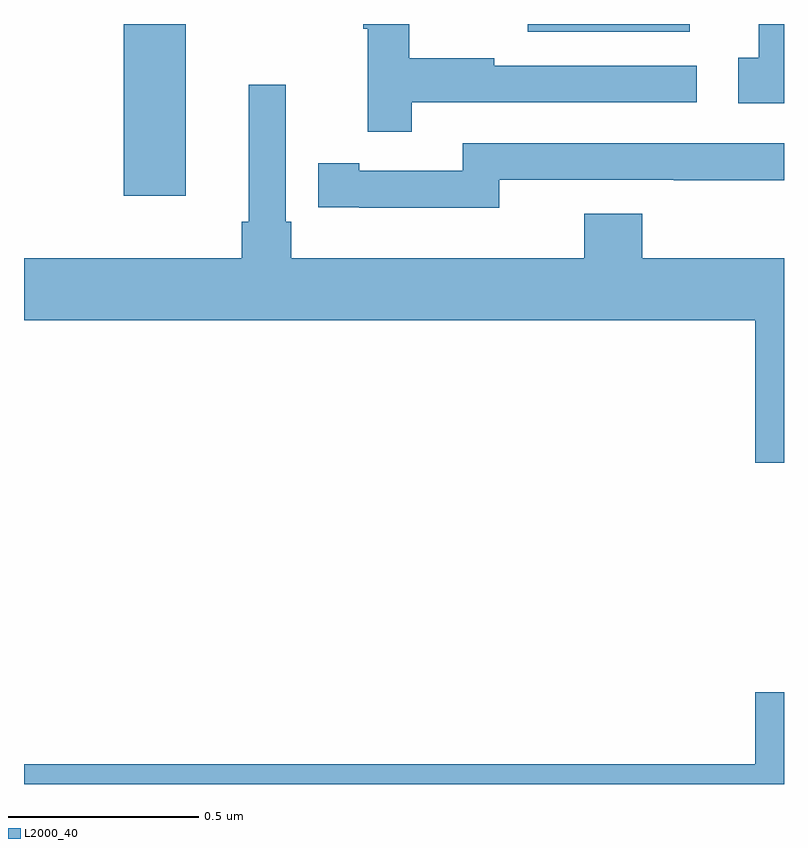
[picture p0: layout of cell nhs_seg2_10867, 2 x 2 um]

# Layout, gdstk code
import gdstk
lib = gdstk.Library(unit=1e-6, precision=1e-09)
def R(c, l, rs):  # rectangles x0, y0, x1, y1
    for r in rs: c.add(gdstk.rectangle(r[:2], r[2:], *l))
def P(c, l, *ps):  # polygons
    for p in ps: c.add(gdstk.Polygon(p, *l))
L2000_40 = (2000, 40)

nhs_seg2_10867 = lib.new_cell('nhs_seg2_10867')
R(nhs_seg2_10867, L2000_40, [(247.262,597.348,247.426,597.8), (248.325,597.779,248.752,597.8)])
P(nhs_seg2_10867, L2000_40, [(249,597.8),(248.933,597.8),(248.933,597.711),(248.88,597.711),(248.88,597.591),(249,597.591)],
  [(248.021,597.594),(248.77,597.594),(248.77,597.69),(248.237,597.69),(248.237,597.71),(248.014,597.71),(248.014,597.8),(247.893,597.8),(247.893,597.787),(247.904,597.787),(247.904,597.516),(248.021,597.516)],
  [(249,597.184),(248.627,597.184),(248.627,597.301),(248.474,597.301),(248.474,597.184),(247.703,597.184),(247.703,597.28),(247.689,597.28),(247.689,597.64),(247.592,597.64),(247.592,597.28),(247.573,597.28),(247.573,597.184),(247,597.184),(247,597.02),(248.924,597.02),(248.924,596.646),(249,596.646)],
  [(248.25,597.39),(248.71,597.39),(248.71,597.389),(249,597.389),(249,597.486),(248.154,597.486),(248.154,597.414),(247.882,597.414),(247.882,597.434),(247.774,597.434),(247.774,597.318),(247.882,597.318),(247.882,597.317),(248.25,597.317)],
  [(249,596.041),(248.924,596.041),(248.924,595.852),(247,595.852),(247,595.8),(249,595.8)])

lib.write_gds('nhs_seg2_10867.gds')
